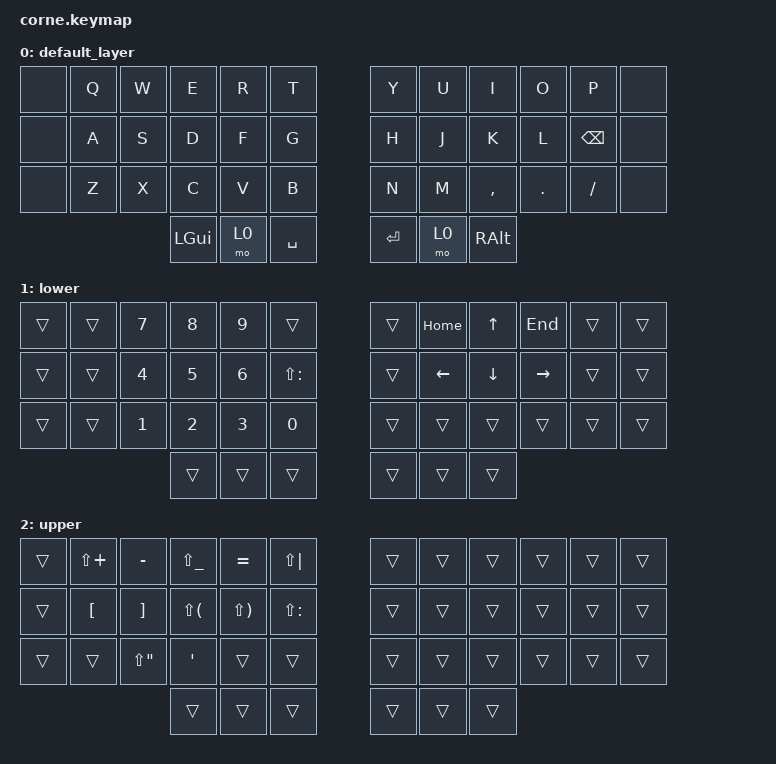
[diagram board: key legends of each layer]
/*
 * Copyright (c) 2020 The ZMK Contributors
 *
 * SPDX-License-Identifier: MIT
 */

#include <behaviors.dtsi>
#include <dt-bindings/zmk/keys.h>

/ {
    keymap {
        compatible = "zmk,keymap";

        default_layer {
            // -----------------------------------------------------------------------------------------
            // |  TAB |  Q  |  W  |  E  |  R  |  T  |   |  Y  |  U   |  I  |  O  |  P  | BSPC |
            // | CTRL |  A  |  S  |  D  |  F  |  G  |   |  H  |  J   |  K  |  L  |  ;  |  '   |
            // | SHFT |  Z  |  X  |  C  |  V  |  B  |   |  N  |  M   |  ,  |  .  |  /  | ESC  |
            //                    | GUI | LWR | SPC |   | ENT | RSE  | ALT |

            bindings = <
&none  &kp Q  &kp W  &kp E     &kp R  &kp T        &kp Y    &kp U  &kp I      &kp O    &kp P          &none
&none  &kp A  &kp S  &kp D     &kp F  &kp G        &kp H    &kp J  &kp K      &kp L    &kp BACKSPACE  &none
&none  &kp Z  &kp X  &kp C     &kp V  &kp B        &kp N    &kp M  &kp COMMA  &kp DOT  &kp FSLH       &none
                     &kp LGUI  &mo 0  &kp SPACE    &kp RET  &mo 0  &kp RALT
            >;
        };

        lower {
            bindings = <
&trans  &trans  &kp N7  &kp N8  &kp N9  &trans           &trans  &kp HOME  &kp UP    &kp END    &trans  &trans
&trans  &trans  &kp N4  &kp N5  &kp N6  &kp LS(COLON)    &trans  &kp LEFT  &kp DOWN  &kp RIGHT  &trans  &trans
&trans  &trans  &kp N1  &kp N2  &kp N3  &kp N0           &trans  &trans    &trans    &trans     &trans  &trans
                        &trans  &trans  &trans           &trans  &trans    &trans
            >;
        };

        upper {
            bindings = <
&trans  &kp LS(PLUS)  &kp MINUS    &kp LS(UNDER)  &kp EQUAL     &kp LS(PIPE)     &trans  &trans  &trans  &trans  &trans  &trans
&trans  &kp LBKT      &kp RBKT     &kp LS(LPAR)   &kp LS(RPAR)  &kp LS(COLON)    &trans  &trans  &trans  &trans  &trans  &trans
&trans  &trans        &kp LS(DQT)  &kp APOS       &trans        &trans           &trans  &trans  &trans  &trans  &trans  &trans
                                   &trans         &trans        &trans           &trans  &trans  &trans
            >;
        };
    };
};
